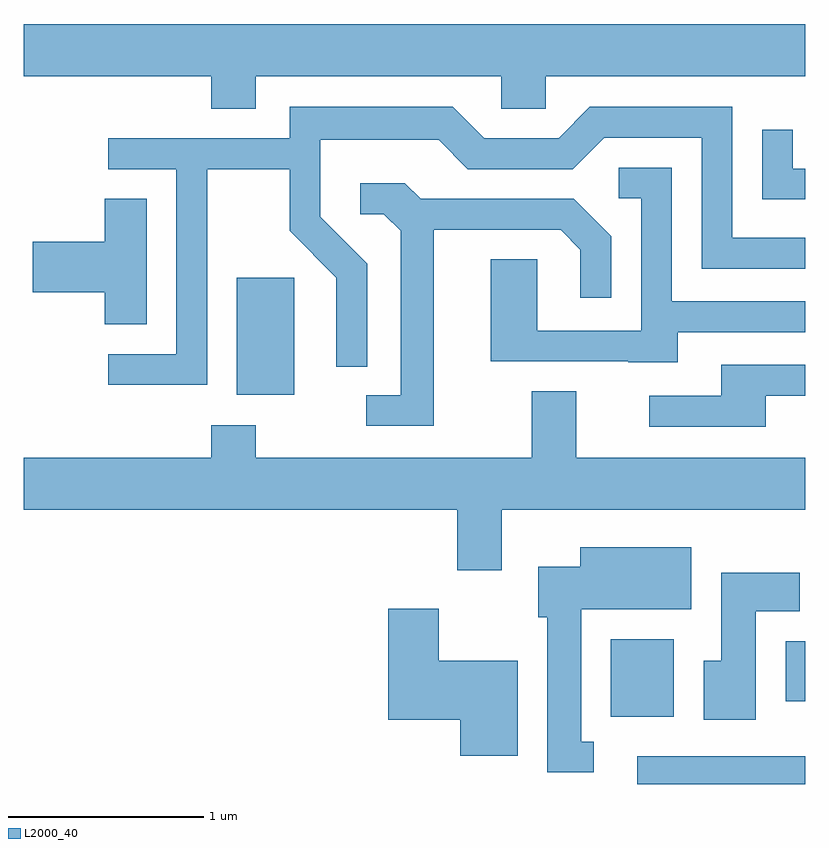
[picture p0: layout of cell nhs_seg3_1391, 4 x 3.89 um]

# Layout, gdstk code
import gdstk
lib = gdstk.Library(unit=1e-6, precision=1e-09)
def R(c, l, rs):  # rectangles x0, y0, x1, y1
    for r in rs: c.add(gdstk.rectangle(r[:2], r[2:], *l))
def P(c, l, *ps):  # polygons
    for p in ps: c.add(gdstk.Polygon(p, *l))
L2000_40 = (2000, 40)

nhs_seg3_1391 = lib.new_cell('nhs_seg3_1391')
R(nhs_seg3_1391, L2000_40, [(228.751,1177.892,229.611,1178.034), (228.616,1178.236,228.939,1178.634), (229.511,1178.316,229.611,1178.624), (226.701,1179.886,226.994,1180.484)])
P(nhs_seg3_1391, L2000_40, [(225.611,1181.516),(226.571,1181.516),(226.571,1181.351),(226.799,1181.351),(226.799,1181.516),(228.056,1181.516),(228.056,1181.351),(228.284,1181.351),(228.284,1181.516),(229.611,1181.516),(229.611,1181.784),(225.611,1181.784)],
  [(226.549,1181.041),(226.971,1181.041),(226.971,1180.724),(227.211,1180.484),(227.211,1180.028),(227.369,1180.028),(227.369,1180.557),(227.129,1180.797),(227.129,1181.191),(227.734,1181.191),(227.884,1181.041),(228.422,1181.041),(228.582,1181.201),(229.081,1181.201),(229.081,1180.531),(229.611,1180.531),(229.611,1180.689),(229.239,1180.689),(229.239,1181.359),(228.509,1181.359),(228.349,1181.199),(227.967,1181.199),(227.807,1181.359),(226.971,1181.359),(226.971,1181.199),(226.043,1181.199),(226.043,1181.041),(226.391,1181.041),(226.391,1180.094),(226.043,1180.094),(226.043,1179.936),(226.549,1179.936)],
  [(229.611,1181.044),(229.549,1181.044),(229.549,1181.243),(229.391,1181.243),(229.391,1180.886),(229.611,1180.886)],
  [(228.959,1180.206),(229.611,1180.206),(229.611,1180.364),(228.929,1180.364),(228.929,1181.049),(228.658,1181.049),(228.658,1180.891),(228.771,1180.891),(228.771,1180.214),(228.239,1180.214),(228.239,1180.579),(228.001,1180.579),(228.001,1180.056),(228.705,1180.056),(228.705,1180.051),(228.959,1180.051)],
  [(227.709,1180.731),(228.359,1180.731),(228.461,1180.629),(228.461,1180.383),(228.619,1180.383),(228.619,1180.697),(228.427,1180.889),(227.642,1180.889),(227.562,1180.969),(227.333,1180.969),(227.333,1180.811),(227.454,1180.811),(227.541,1180.724),(227.541,1179.884),(227.363,1179.884),(227.363,1179.726),(227.709,1179.726)],
  [(226.239,1180.889),(226.026,1180.889),(226.026,1180.669),(225.656,1180.669),(225.656,1180.411),(226.026,1180.411),(226.026,1180.246),(226.239,1180.246)],
  [(229.409,1179.881),(229.611,1179.881),(229.611,1180.039),(229.181,1180.039),(229.181,1179.879),(228.813,1179.879),(228.813,1179.721),(229.409,1179.721)],
  [(228.059,1179.296),(229.611,1179.296),(229.611,1179.564),(228.439,1179.564),(228.439,1179.904),(228.211,1179.904),(228.211,1179.564),(226.799,1179.564),(226.799,1179.729),(226.571,1179.729),(226.571,1179.564),(225.611,1179.564),(225.611,1179.296),(227.831,1179.296),(227.831,1178.986),(228.059,1178.986)],
  [(228.528,1178.109),(228.464,1178.109),(228.464,1178.786),(229.029,1178.786),(229.029,1179.104),(228.461,1179.104),(228.461,1179.004),(228.246,1179.004),(228.246,1178.746),(228.291,1178.746),(228.291,1177.951),(228.528,1177.951)],
  [(229.359,1178.776),(229.584,1178.776),(229.584,1178.974),(229.181,1178.974),(229.181,1178.524),(229.091,1178.524),(229.091,1178.221),(229.359,1178.221)],
  [(228.139,1178.524),(227.734,1178.524),(227.734,1178.789),(227.476,1178.789),(227.476,1178.221),(227.846,1178.221),(227.846,1178.036),(228.139,1178.036)])

lib.write_gds('nhs_seg3_1391.gds')
